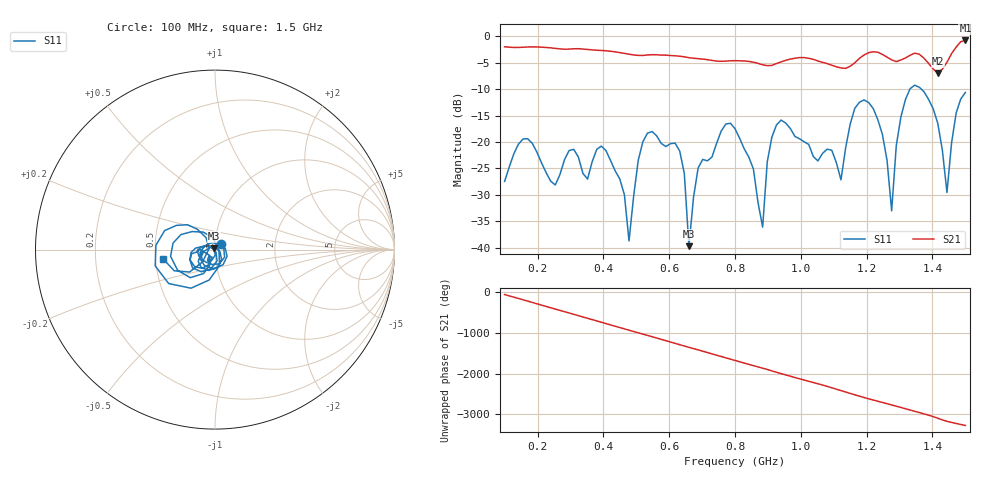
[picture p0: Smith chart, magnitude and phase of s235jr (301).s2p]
! NanoVNA-App
! Date: 2025-09-25 15:06:30
! Start: 100MHz Stop: 1,5GHz Points: 101
! S-Parameter data: F S11 S21 S12 S22
# Hz S RI R 50
!  Frequency  S11_Real  S11_Imag  S21_Real  S21_Imag  S12_Real  S12_Imag  S22_Real  S22_Imag
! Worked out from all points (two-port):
!   101 points, 100 MHz to 1.5 GHz, reference 50 ohm
!   highest |S21| = -0.76 dB at 1.5 GHz (marker M1); lowest = -6.9 dB at 1.416 GHz (marker M2)
!   |S21| within 3 dB of the highest: start of sweep to 634.1 MHz; 1.187 GHz to 1.258 GHz (70.91 MHz wide, 5.8 % of centre) (the widest 2 of 4)
!   lowest |S11| = -39.7 dB at 660 MHz (marker M3), VSWR 1.02, Z = 49.2 + j0.617 ohm
!   |S11| at or under -10 dB: start of sweep to 1.331 GHz; 1.366 GHz to end of sweep
!   S12 and S22 are empty: the file has one direction only
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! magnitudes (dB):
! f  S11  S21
! 100 MHz  -27.5  -2.0
! 156 MHz  -19.4  -2.0
! 338 MHz  -26.0  -2.4
! 408 MHz  -21.6  -2.7
! 478 MHz  -38.8  -3.4
! 520 MHz  -20.0  -3.6
! 576 MHz  -20.3  -3.5
! 632 MHz  -21.7  -3.7
! 660 MHz  -39.7  -4.0
! 688 MHz  -24.9  -4.2
! 800 MHz  -17.5  -4.6
! 884 MHz  -36.1  -5.4
! 926 MHz  -16.8  -5.1
! 1.038 GHz  -22.8  -4.3
! 1.122 GHz  -27.2  -6.0
! 1.206 GHz  -12.5  -3.1
! 1.276 GHz  -33.0  -4.4
! 1.29 GHz  -20.7  -4.8
! 1.332 GHz  -9.9  -3.6
! 1.416 GHz  -16.4  -6.9
! 1.444 GHz  -29.6  -4.9
! 1.5 GHz  -10.6  -0.8
